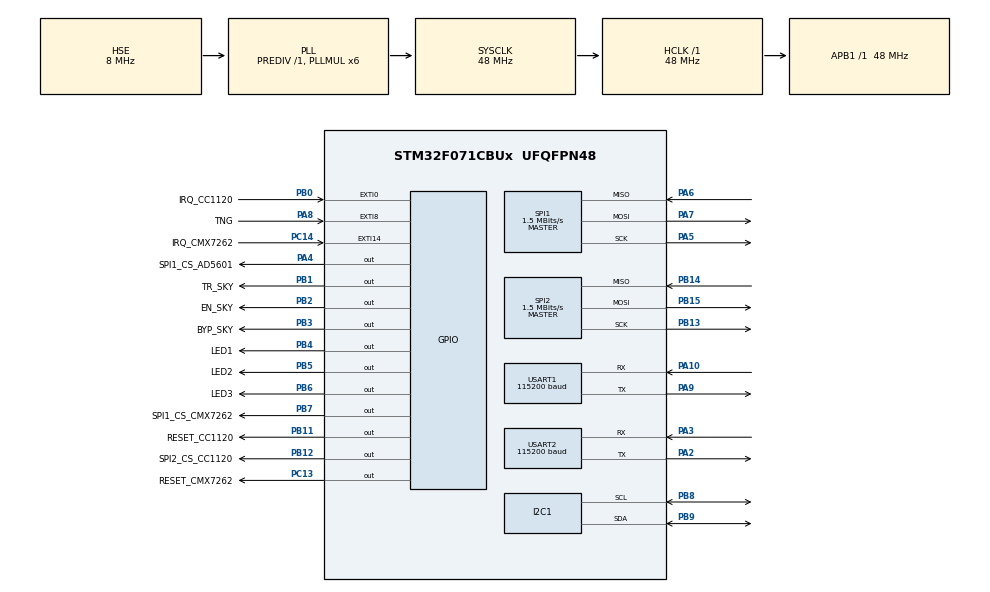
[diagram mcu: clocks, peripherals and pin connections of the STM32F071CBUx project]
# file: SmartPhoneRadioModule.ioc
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Dma.Request0=SPI1_RX
Dma.Request1=SPI1_TX
Dma.Request2=SPI2_RX
Dma.Request3=SPI2_TX
Dma.Request4=USART1_RX
Dma.Request5=USART1_TX
Dma.SPI1_RX.0.Direction=DMA_PERIPH_TO_MEMORY
Dma.SPI1_RX.0.Instance=DMA1_Channel2
Dma.SPI1_RX.0.MemDataAlignment=DMA_MDATAALIGN_BYTE
Dma.SPI1_RX.0.MemInc=DMA_MINC_ENABLE
Dma.SPI1_RX.0.Mode=DMA_NORMAL
Dma.SPI1_RX.0.PeriphDataAlignment=DMA_PDATAALIGN_BYTE
Dma.SPI1_RX.0.PeriphInc=DMA_PINC_DISABLE
Dma.SPI1_RX.0.Priority=DMA_PRIORITY_LOW
Dma.SPI1_TX.1.Direction=DMA_MEMORY_TO_PERIPH
Dma.SPI1_TX.1.Instance=DMA1_Channel3
Dma.SPI1_TX.1.MemDataAlignment=DMA_MDATAALIGN_BYTE
Dma.SPI1_TX.1.MemInc=DMA_MINC_ENABLE
Dma.SPI1_TX.1.Mode=DMA_NORMAL
Dma.SPI1_TX.1.PeriphDataAlignment=DMA_PDATAALIGN_BYTE
Dma.SPI1_TX.1.PeriphInc=DMA_PINC_DISABLE
Dma.SPI1_TX.1.Priority=DMA_PRIORITY_LOW
Dma.SPI2_RX.2.DMA_Remap=HAL_REMAPDMA_SPI2_DMA_CH67
Dma.SPI2_RX.2.Direction=DMA_PERIPH_TO_MEMORY
Dma.SPI2_RX.2.Instance=DMA1_Channel6
Dma.SPI2_RX.2.MemDataAlignment=DMA_MDATAALIGN_BYTE
Dma.SPI2_RX.2.MemInc=DMA_MINC_ENABLE
Dma.SPI2_RX.2.Mode=DMA_NORMAL
Dma.SPI2_RX.2.PeriphDataAlignment=DMA_PDATAALIGN_BYTE
Dma.SPI2_RX.2.PeriphInc=DMA_PINC_DISABLE
Dma.SPI2_RX.2.Priority=DMA_PRIORITY_LOW
Dma.SPI2_TX.3.DMA_Remap=HAL_REMAPDMA_SPI2_DMA_CH67
Dma.SPI2_TX.3.Direction=DMA_MEMORY_TO_PERIPH
Dma.SPI2_TX.3.Instance=DMA1_Channel7
Dma.SPI2_TX.3.MemDataAlignment=DMA_MDATAALIGN_BYTE
Dma.SPI2_TX.3.MemInc=DMA_MINC_ENABLE
Dma.SPI2_TX.3.Mode=DMA_NORMAL
Dma.SPI2_TX.3.PeriphDataAlignment=DMA_PDATAALIGN_BYTE
Dma.SPI2_TX.3.PeriphInc=DMA_PINC_DISABLE
Dma.SPI2_TX.3.Priority=DMA_PRIORITY_LOW
Dma.USART1_RX.4.DMA_Remap=HAL_REMAPDMA_USART1_RX_DMA_CH5
Dma.USART1_RX.4.Direction=DMA_PERIPH_TO_MEMORY
Dma.USART1_RX.4.Instance=DMA1_Channel5
Dma.USART1_RX.4.MemDataAlignment=DMA_MDATAALIGN_BYTE
Dma.USART1_RX.4.MemInc=DMA_MINC_ENABLE
Dma.USART1_RX.4.Mode=DMA_NORMAL
Dma.USART1_RX.4.PeriphDataAlignment=DMA_PDATAALIGN_BYTE
Dma.USART1_RX.4.PeriphInc=DMA_PINC_DISABLE
Dma.USART1_RX.4.Priority=DMA_PRIORITY_LOW
Dma.USART1_TX.5.DMA_Remap=HAL_REMAPDMA_USART1_TX_DMA_CH4
Dma.USART1_TX.5.Direction=DMA_MEMORY_TO_PERIPH
Dma.USART1_TX.5.Instance=DMA1_Channel4
Dma.USART1_TX.5.MemDataAlignment=DMA_MDATAALIGN_BYTE
Dma.USART1_TX.5.MemInc=DMA_MINC_ENABLE
Dma.USART1_TX.5.Mode=DMA_NORMAL
Dma.USART1_TX.5.PeriphDataAlignment=DMA_PDATAALIGN_BYTE
Dma.USART1_TX.5.PeriphInc=DMA_PINC_DISABLE
Dma.USART1_TX.5.Priority=DMA_PRIORITY_LOW
I2C1.Timing=0x20303E5D
Mcu.Family=STM32F0
Mcu.Name=STM32F071CBUx
Mcu.Package=UFQFPN48
NVIC.DMA1_Channel2_3_IRQn=true\:0\:0\:false
NVIC.DMA1_Channel4_5_6_7_IRQn=true\:0\:0\:false
NVIC.EXTI0_1_IRQn=true\:0\:0\:false
NVIC.EXTI4_15_IRQn=true\:0\:0\:false
NVIC.SPI1_IRQn=true\:0\:0\:false
NVIC.SPI2_IRQn=true\:0\:0\:false
NVIC.USART1_IRQn=true\:0\:0\:false
NVIC.USART2_IRQn=true\:0\:0\:false
PA10.Mode=Asynchronous
PA10.Signal=USART1_RX
PA2.Mode=Asynchronous
PA2.Signal=USART2_TX
PA3.Mode=Asynchronous
PA3.Signal=USART2_RX
PA4.GPIO_Label=SPI1_CS_AD5601
PA4.GPIO_PuPd=GPIO_NOPULL
PA4.GPIO_Speed=GPIO_SPEED_HIGH
PA4.Signal=GPIO_Output
PA5.Mode=Full_Duplex_Master
PA5.Signal=SPI1_SCK
PA6.Mode=Full_Duplex_Master
PA6.Signal=SPI1_MISO
PA7.Mode=Full_Duplex_Master
PA7.Signal=SPI1_MOSI
PA8.GPIO_Label=TNG
PA8.GPIO_ModeDefaultEXTI=GPIO_MODE_IT_FALLING
PA8.GPIO_PuPd=GPIO_PULLUP
PA8.Signal=GPXTI8
PA9.Mode=Asynchronous
PA9.Signal=USART1_TX
PB0.GPIO_Label=IRQ_CC1120
PB0.GPIO_ModeDefaultEXTI=GPIO_MODE_IT_FALLING
PB0.GPIO_PuPd=GPIO_PULLUP
PB0.Signal=GPXTI0
PB1.GPIO_Label=TR_SKY
PB1.Signal=GPIO_Output
PB11.GPIO_Label=RESET_CC1120
PB11.GPIO_Speed=GPIO_SPEED_HIGH
PB11.Signal=GPIO_Output
PB12.GPIO_Label=SPI2_CS_CC1120
PB12.GPIO_Speed=GPIO_SPEED_HIGH
PB12.Signal=GPIO_Output
PB13.Mode=Full_Duplex_Master
PB13.Signal=SPI2_SCK
PB14.Mode=Full_Duplex_Master
PB14.Signal=SPI2_MISO
PB15.Mode=Full_Duplex_Master
PB15.Signal=SPI2_MOSI
PB2.GPIO_Label=EN_SKY
PB2.Signal=GPIO_Output
PB3.GPIO_Label=BYP_SKY
PB3.Signal=GPIO_Output
PB4.GPIO_Label=LED1
PB4.GPIO_PuPd=GPIO_NOPULL
PB4.GPIO_Speed=GPIO_SPEED_HIGH
PB4.Signal=GPIO_Output
PB5.GPIO_Label=LED2
PB5.GPIO_PuPd=GPIO_NOPULL
PB5.GPIO_Speed=GPIO_SPEED_HIGH
PB5.Signal=GPIO_Output
PB6.GPIO_FM6=__NULL
PB6.GPIO_Label=LED3
PB6.GPIO_PuPd=GPIO_NOPULL
PB6.GPIO_Speed=GPIO_SPEED_HIGH
PB6.Signal=GPIO_Output
PB7.GPIO_Label=SPI1_CS_CMX7262
PB7.GPIO_PuPd=GPIO_NOPULL
PB7.GPIO_Speed=GPIO_SPEED_HIGH
PB7.Signal=GPIO_Output
PB8.Mode=I2C
PB8.Signal=I2C1_SCL
PB9.Mode=I2C
PB9.Signal=I2C1_SDA
PC13.GPIO_Label=RESET_CMX7262
PC13.Signal=GPIO_Output
PC14-OSC32_IN.GPIO_Label=IRQ_CMX7262
PC14-OSC32_IN.GPIO_ModeDefaultEXTI=GPIO_MODE_IT_FALLING
PC14-OSC32_IN.GPIO_PuPd=GPIO_PULLUP
PC14-OSC32_IN.Signal=GPXTI14
PF0-OSC_IN.Mode=HSE-External-Oscillator
PF0-OSC_IN.Signal=RCC_OSC_IN
PF1-OSC_OUT.Mode=HSE-External-Oscillator
PF1-OSC_OUT.Signal=RCC_OSC_OUT
ProjectManager.TargetToolchain=MDK-ARM V5
RCC.AHBFreq_Value=48000000
RCC.APB1Freq_Value=48000000
RCC.APB1TimFreq_Value=48000000
RCC.HCLKFreq_Value=48000000
RCC.HSIState=RCC_HSI_ON
RCC.I2c1ClockSelection=RCC_I2C1CLKSOURCE_SYSCLK
RCC.PLLMUL=RCC_PLL_MUL6
RCC.PLLSourceVirtual=RCC_PLLSOURCE_HSE
RCC.SYSCLKFreq_VALUE=48000000
RCC.SYSCLKSource=RCC_SYSCLKSOURCE_PLLCLK
SPI1.BaudRatePrescaler=SPI_BAUDRATEPRESCALER_32
SPI1.CalculateBaudRate=1.5 MBits/s
SPI1.DataSize=SPI_DATASIZE_8BIT
SPI1.Mode=SPI_MODE_MASTER
SPI1.NSSPMode=SPI_NSS_PULSE_DISABLED
SPI2.BaudRatePrescaler=SPI_BAUDRATEPRESCALER_32
SPI2.CalculateBaudRate=1.5 MBits/s
SPI2.DataSize=SPI_DATASIZE_8BIT
SPI2.Mode=SPI_MODE_MASTER
SPI2.NSSPMode=SPI_NSS_PULSE_DISABLED
TIM1.Period=65535
TIM15.Period=65535
TIM2.Period=65535
TIM2.TIM_MasterSlaveMode=TIM_MASTERSLAVEMODE_ENABLE
TIM3.Period=65535
USART1.BaudRate=115200
USART1.WordLength=UART_WORDLENGTH_8B
USART2.BaudRate=115200
USART2.WordLength=UART_WORDLENGTH_8B
VP_TIM15_VS_ClockSourceINT.Mode=Internal
VP_TIM1_VS_ClockSourceINT.Mode=Internal
VP_TIM2_VS_ClockSourceINT.Mode=Internal
VP_TIM3_VS_ClockSourceITR.Mode=TriggerSource_ITR1
VP_TIM3_VS_ControllerModeClock.Mode=Clock Mode
board=SmartPhoneRadioModule

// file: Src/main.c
/**
  ******************************************************************************
  * File Name          : main.c
  * Description        : Main program body
  ******************************************************************************
  *
  * COPYRIGHT(c) 2016 STMicroelectronics
  *
  * Redistribution and use in source and binary forms, with or without modification,
  * are permitted provided that the following conditions are met:
  *   1. Redistributions of source code must retain the above copyright notice,
  *      this list of conditions and the following disclaimer.
  *   2. Redistributions in binary form must reproduce the above copyright notice,
  *      this list of conditions and the following disclaimer in the documentation
  *      and/or other materials provided with the distribution.
  *   3. Neither the name of STMicroelectronics nor the names of its contributors
  *      may be used to endorse or promote products derived from this software
  *      without specific prior written permission.
  *
  * THIS SOFTWARE IS PROVIDED BY THE COPYRIGHT HOLDERS AND CONTRIBUTORS "AS IS"
  * AND ANY EXPRESS OR IMPLIED WARRANTIES, INCLUDING, BUT NOT LIMITED TO, THE
  * IMPLIED WARRANTIES OF MERCHANTABILITY AND FITNESS FOR A PARTICULAR PURPOSE ARE
  * DISCLAIMED. IN NO EVENT SHALL THE COPYRIGHT HOLDER OR CONTRIBUTORS BE LIABLE
  * FOR ANY DIRECT, INDIRECT, INCIDENTAL, SPECIAL, EXEMPLARY, OR CONSEQUENTIAL
  * DAMAGES (INCLUDING, BUT NOT LIMITED TO, PROCUREMENT OF SUBSTITUTE GOODS OR
  * SERVICES; LOSS OF USE, DATA, OR PROFITS; OR BUSINESS INTERRUPTION) HOWEVER
  * CAUSED AND ON ANY THEORY OF LIABILITY, WHETHER IN CONTRACT, STRICT LIABILITY,
  * OR TORT (INCLUDING NEGLIGENCE OR OTHERWISE) ARISING IN ANY WAY OUT OF THE USE
  * OF THIS SOFTWARE, EVEN IF ADVISED OF THE POSSIBILITY OF SUCH DAMAGE.
  *
  ******************************************************************************
  */
#include "stm32f0xx_hal.h"

/* USER CODE BEGIN Includes */
#include <string.h>
#include "ad5601.h"
#include "globals.h"
#include "cc1120.h"
#include "cmx7262.h"
#include "eeprom.h"
#include "mathfuncs.h"
#include "ProcessStates.h"
#include "RadioModule.h"
#include "SPIMLogic.h"
#include "StoreCMXImage.h"
/* USER CODE END Includes */

I2C_HandleTypeDef hi2c1;

SPI_HandleTypeDef hspi1;
SPI_HandleTypeDef hspi2;
DMA_HandleTypeDef hdma_spi1_rx;
DMA_HandleTypeDef hdma_spi1_tx;
DMA_HandleTypeDef hdma_spi2_rx;
DMA_HandleTypeDef hdma_spi2_tx;

TIM_HandleTypeDef htim1;
TIM_HandleTypeDef htim2;
TIM_HandleTypeDef htim3;
TIM_HandleTypeDef htim15;

UART_HandleTypeDef huart1;
UART_HandleTypeDef huart2;
DMA_HandleTypeDef hdma_usart1_rx;
DMA_HandleTypeDef hdma_usart1_tx;

/* USER CODE BEGIN PV */
/* Private variables ---------------------------------------------------------*/
extern UART_InitTypeDef DefaultUARTParams;

extern en_UARTstates UARTstate;

#define DMA_UART_PRIORITY (2)

/* USER CODE END PV */

void SystemClock_Config(void);
static void MX_GPIO_Init(void);
static void MX_DMA_Init(void);
static void MX_I2C1_Init(void);
static void MX_SPI1_Init(void);
static void MX_SPI2_Init(void);
static void MX_TIM1_Init(void);
static void MX_TIM2_Init(void);
static void MX_TIM3_Init(void);
static void MX_TIM15_Init(void);
static void MX_USART1_UART_Init(void);
static void MX_USART2_UART_Init(void);

/* USER CODE BEGIN PFP */
/* Private function prototypes -----------------------------------------------*/

/* USER CODE END PFP */

int main(void)
{

  /* MCU Configuration----------------------------------------------------------*/

  /* Reset of all peripherals, Initializes the Flash interface and the Systick. */
	HAL_Init();

  /* Configure the system clock */
  SystemClock_Config();

  /* Initialize all configured peripherals */
  MX_GPIO_Init();
  MX_DMA_Init();
  MX_I2C1_Init();
  MX_SPI1_Init();
  MX_SPI2_Init();
  MX_TIM1_Init();
  MX_TIM2_Init();
  MX_TIM3_Init();
  MX_TIM15_Init();
  MX_USART1_UART_Init();
  MX_USART2_UART_Init();

  /* USER CODE BEGIN 2 */

	// Устанавливаем CS периферийных микросхем в высокое состояние
	CC1120_CSN_HIGH();
	CMX7262_CSN_HIGH();
	#ifndef SMART_PROTOTYPE
	AD5601_CSN_HIGH();
	#endif

	// Pin Reset CC1120 устанавливаем в высокое состояние для перевода микросхемы в активное состояние
	CC1120_RESET_HIGH();

	//Выключаем светодиоды
	LEDS_OFF();

	#ifndef SMART_PROTOTYPE
	SKY_TR_LOW();
	SKY_EN_HIGH();
	SKY_BYP_HIGH();
	#endif

	//Запускаем таймеры для работы с периферией
	StartPeriphTimers();

	// Инициализируем работу по UART
	UART_InitInterface(&huart1);

	//Аппаратный сброс CC1120
	CC1120_HardwareReset();

	//Аппаратный сброс CMX7262
	CMX7262_HardwareReset();

	#ifdef DEBUG_CHECK_EEPROM_ON_STARTUP
	//Проверка работоспособности (чтение/запись) EEPROM
	volatile uint8_t nEEPROMStatus = TestEEPROM(&hi2c1);
	#endif

	#ifdef DEBUG_CHECK_PERIPH_MODULES_ON_STARTUP
	//Проверка работоспособности периферийных модулей
	volatile uint8_t nCC1120Status = CC1120_CheckModule(&hspi2);
	volatile uint8_t nCMX7262Status = CMX7262_CheckModule(&hspi1);
	#endif

	#ifdef SAVE_CMX7262_IMAGE_TO_EEPROM
	SaveCMX7262Image();
	return 0;
	#endif

	//Делаем инициализацию радиомодуля для возможности управления его режимами и параметрами
	RadioModuleInit(&hspi1,&hspi2);

	#ifndef SMART_PROTOTYPE
	//Выставляем смещение на ЦАП для Front-End
	AD5601_SetVCPForSky(&hspi1);
	#endif

	#ifdef TEST_CMX7262
	CMX7262_TestMode();
	#endif

  /* USER CODE END 2 */

  /* Infinite loop */
  /* USER CODE BEGIN WHILE */
	#ifdef USE_LEDS
	//Индицируем успешную загрузку светодиодом
	LED1_ON();
	#endif

  while (1)
  {
		//Если из UART приняты данные
		if(UARTstate==UART_DATA_RX_NEED_TO_PROCESS)
		{
			//Обрабатываем их
			ProcessDataFromExtDev();

			//Указываем, что данные обработаны
			UARTstate = UART_IDLE;
		}

		ProcessAsyncData();

		//Обрабатываем состояние модуля CMX7262
		ProcessCMX7262State();

		#ifndef TEST_CMX7262
		//Обрабатываем тангенту
		ProcessPTTState();

		//Обрабатываем состояние приемопередатчика
		ProcessRadioState();
		#endif

  /* USER CODE END WHILE */

  }

}

/** System Clock Configuration
*/
void SystemClock_Config(void)
{

  RCC_OscInitTypeDef RCC_OscInitStruct;
  RCC_ClkInitTypeDef RCC_ClkInitStruct;
  RCC_PeriphCLKInitTypeDef PeriphClkInit;

  RCC_OscInitStruct.OscillatorType = RCC_OSCILLATORTYPE_HSE;
  RCC_OscInitStruct.HSEState = RCC_HSE_ON;
  RCC_OscInitStruct.PLL.PLLState = RCC_PLL_ON;
  RCC_OscInitStruct.PLL.PLLSource = RCC_PLLSOURCE_HSE;
  RCC_OscInitStruct.PLL.PLLMUL = RCC_PLL_MUL6;
  RCC_OscInitStruct.PLL.PREDIV = RCC_PREDIV_DIV1;
  HAL_RCC_OscConfig(&RCC_OscInitStruct);

  RCC_ClkInitStruct.ClockType = RCC_CLOCKTYPE_SYSCLK;
  RCC_ClkInitStruct.SYSCLKSource = RCC_SYSCLKSOURCE_PLLCLK;
  RCC_ClkInitStruct.AHBCLKDivider = RCC_SYSCLK_DIV1;
  RCC_ClkInitStruct.APB1CLKDivider = RCC_HCLK_DIV1;
  HAL_RCC_ClockConfig(&RCC_ClkInitStruct, FLASH_LATENCY_1);

  PeriphClkInit.PeriphClockSelection = RCC_PERIPHCLK_USART1|RCC_PERIPHCLK_USART2
                              |RCC_PERIPHCLK_I2C1;
  PeriphClkInit.Usart1ClockSelection = RCC_USART1CLKSOURCE_PCLK1;
  PeriphClkInit.Usart2ClockSelection = RCC_USART2CLKSOURCE_PCLK1;
  PeriphClkInit.I2c1ClockSelection = RCC_I2C1CLKSOURCE_SYSCLK;
  HAL_RCCEx_PeriphCLKConfig(&PeriphClkInit);

  HAL_SYSTICK_Config(HAL_RCC_GetHCLKFreq()/1000);

  HAL_SYSTICK_CLKSourceConfig(SYSTICK_CLKSOURCE_HCLK);

  /* SysTick_IRQn interrupt configuration */
  HAL_NVIC_SetPriority(SysTick_IRQn, 0, 0);
}

/* I2C1 init function */
void MX_I2C1_Init(void)
{

  hi2c1.Instance = I2C1;
  hi2c1.Init.Timing = 0x20303E5D;
  hi2c1.Init.OwnAddress1 = 1;
  hi2c1.Init.AddressingMode = I2C_ADDRESSINGMODE_7BIT;
  hi2c1.Init.DualAddressMode = I2C_DUALADDRESS_DISABLED;
  hi2c1.Init.OwnAddress2 = 0;
  hi2c1.Init.OwnAddress2Masks = I2C_OA2_NOMASK;
  hi2c1.Init.GeneralCallMode = I2C_GENERALCALL_DISABLED;
  hi2c1.Init.NoStretchMode = I2C_NOSTRETCH_DISABLED;
  HAL_I2C_Init(&hi2c1);

    /**Configure Analogue filter
    */
  HAL_I2CEx_AnalogFilter_Config(&hi2c1, I2C_ANALOGFILTER_ENABLED);

}

/* SPI1 init function */
void MX_SPI1_Init(void)
{

  hspi1.Instance = SPI1;
  hspi1.Init.Mode = SPI_MODE_MASTER;
  hspi1.Init.Direction = SPI_DIRECTION_2LINES;							// режим работы: двухпроводный full duplex
  hspi1.Init.DataSize = SPI_DATASIZE_8BIT;									// размер данных - 8 бит
  hspi1.Init.CLKPolarity = SPI_POLARITY_LOW;
  hspi1.Init.CLKPhase = SPI_PHASE_1EDGE;										// синхронизация по заднему фронту
  hspi1.Init.NSS = SPI_NSS_SOFT;														// программный CS
  hspi1.Init.BaudRatePrescaler = SPI_BAUDRATEPRESCALER_32;	// предделитель частоты SPI: 48МГц/32 = 1.5 МГц
  hspi1.Init.FirstBit = SPI_FIRSTBIT_MSB;										// старший бит - первый
  hspi1.Init.TIMode = SPI_TIMODE_DISABLED;
  hspi1.Init.CRCCalculation = SPI_CRCCALCULATION_DISABLED;	// CRC не вычисляется
  hspi1.Init.CRCPolynomial = 7;
  hspi1.Init.CRCLength = SPI_CRC_LENGTH_DATASIZE;
  hspi1.Init.NSSPMode = SPI_NSS_PULSE_DISABLED;							// NSS pulse mode отключен
  HAL_SPI_Init(&hspi1);

}

/* SPI2 init function */
void MX_SPI2_Init(void)
{

  hspi2.Instance = SPI2;
  hspi2.Init.Mode = SPI_MODE_MASTER;
  hspi2.Init.Direction = SPI_DIRECTION_2LINES;							// режим работы: двухпроводный full duplex
  hspi2.Init.DataSize = SPI_DATASIZE_8BIT;									// размер данных - 8 бит
  hspi2.Init.CLKPolarity = SPI_POLARITY_LOW;
  hspi2.Init.CLKPhase = SPI_PHASE_1EDGE;										// синхронизация по заднему фронту
  hspi2.Init.NSS = SPI_NSS_SOFT;														// программный CS
  hspi2.Init.BaudRatePrescaler = SPI_BAUDRATEPRESCALER_128;	// предделитель частоты SPI: 48МГц/128 = 375 кГц
  hspi2.Init.FirstBit = SPI_FIRSTBIT_MSB;										// старший бит - первый
  hspi2.Init.TIMode = SPI_TIMODE_DISABLED;
  hspi2.Init.CRCCalculation = SPI_CRCCALCULATION_DISABLED;	// CRC не вычисляется
  hspi2.Init.CRCPolynomial = 7;
  hspi2.Init.CRCLength = SPI_CRC_LENGTH_DATASIZE;
  hspi2.Init.NSSPMode = SPI_NSS_PULSE_DISABLED;							// NSS pulse mode отключен
  HAL_SPI_Init(&hspi2);

}

/* TIM1 init function */
void MX_TIM1_Init(void)
{

  TIM_ClockConfigTypeDef sClockSourceConfig;
  TIM_MasterConfigTypeDef sMasterConfig;

  htim1.Instance = TIM1;
	htim1.Init.Prescaler = (uint16_t) ((SystemCoreClock)/1e5 - 1);	//такт таймера - в 10 мкс
  htim1.Init.CounterMode = TIM_COUNTERMODE_UP;
  htim1.Init.Period = 65535;
  htim1.Init.ClockDivision = TIM_CLOCKDIVISION_DIV1;
  htim1.Init.RepetitionCounter = 0;
  HAL_TIM_Base_Init(&htim1);

  sClockSourceConfig.ClockSource = TIM_CLOCKSOURCE_INTERNAL;
  HAL_TIM_ConfigClockSource(&htim1, &sClockSourceConfig);

  sMasterConfig.MasterOutputTrigger = TIM_TRGO_RESET;
  sMasterConfig.MasterSlaveMode = TIM_MASTERSLAVEMODE_DISABLE;
  HAL_TIMEx_MasterConfigSynchronization(&htim1, &sMasterConfig);

}

/* Таймеры TIM2 и TIM3 реализуют высокоточный (точность - 1мкс) 32-битный таймер для оценки временных
интервалов в реализации низкоуровневых функций (передача байта по SPI, UART и т.п.) */

/* TIM2 init function */
void MX_TIM2_Init(void)
{

  TIM_ClockConfigTypeDef sClockSourceConfig;
  TIM_MasterConfigTypeDef sMasterConfig;

  htim2.Instance = TIM2;
  htim2.Init.Prescaler = (uint16_t) ((SystemCoreClock) / 1e6) - 1;		//такт таймера - в 1 мкс
  htim2.Init.CounterMode = TIM_COUNTERMODE_UP;
  htim2.Init.Period = 65535;
  htim2.Init.ClockDivision = TIM_CLOCKDIVISION_DIV1;
  HAL_TIM_Base_Init(&htim2);

  sClockSourceConfig.ClockSource = TIM_CLOCKSOURCE_INTERNAL;
  HAL_TIM_ConfigClockSource(&htim2, &sClockSourceConfig);

	//Таймер используется как master в каскадной цепочке таймеров для реализации 32-битного таймера
	//Слейвом выступает TIM3. Формируем для него сигнал тригера по истечению периода
  sMasterConfig.MasterOutputTrigger = TIM_TRGO_UPDATE;
  sMasterConfig.MasterSlaveMode = TIM_MASTERSLAVEMODE_ENABLE;
  HAL_TIMEx_MasterConfigSynchronization(&htim2, &sMasterConfig);

}

/* TIM3 init function */
void MX_TIM3_Init(void)
{

  TIM_SlaveConfigTypeDef sSlaveConfig;
  TIM_MasterConfigTypeDef sMasterConfig;

  htim3.Instance = TIM3;
  htim3.Init.Prescaler = 0;
  htim3.Init.CounterMode = TIM_COUNTERMODE_UP;
  htim3.Init.Period = 65535;
  htim3.Init.ClockDivision = TIM_CLOCKDIVISION_DIV1;
  HAL_TIM_Base_Init(&htim3);

	//Таймер используется как slave в каскадной цепочке таймеров для реализации 32-битного таймера
	//По переполнению счетчика master-таймера (TIM2) инкрементируется счетчик данного slave-таймера
	//Прерывание ITR1 используется как внешний тригер для инкрементирования значения счетчика
  sSlaveConfig.SlaveMode = TIM_SLAVEMODE_EXTERNAL1;
  sSlaveConfig.InputTrigger = TIM_TS_ITR1;
  HAL_TIM_SlaveConfigSynchronization(&htim3, &sSlaveConfig);

  sMasterConfig.MasterOutputTrigger = TIM_TRGO_RESET;
  sMasterConfig.MasterSlaveMode = TIM_MASTERSLAVEMODE_DISABLE;
  HAL_TIMEx_MasterConfigSynchronization(&htim3, &sMasterConfig);

}

/* TIM15 init function */
void MX_TIM15_Init(void)
{

  TIM_ClockConfigTypeDef sClockSourceConfig;
  TIM_MasterConfigTypeDef sMasterConfig;

  htim15.Instance = TIM15;
	htim15.Init.Prescaler = (uint16_t) ((SystemCoreClock)/1e5 - 1);	//такт таймера - в 10 мкс
  htim15.Init.CounterMode = TIM_COUNTERMODE_UP;
  htim15.Init.Period = 65535;
  htim15.Init.ClockDivision = TIM_CLOCKDIVISION_DIV1;
  htim15.Init.RepetitionCounter = 0;
  HAL_TIM_Base_Init(&htim15);

  sClockSourceConfig.ClockSource = TIM_CLOCKSOURCE_INTERNAL;
  HAL_TIM_ConfigClockSource(&htim15, &sClockSourceConfig);

  sMasterConfig.MasterOutputTrigger = TIM_TRGO_RESET;
  sMasterConfig.MasterSlaveMode = TIM_MASTERSLAVEMODE_DISABLE;
  HAL_TIMEx_MasterConfigSynchronization(&htim15, &sMasterConfig);

}

/* USART1 init function */
void MX_USART1_UART_Init(void)
{

  huart1.Instance = USART1;
  huart1.Init = DefaultUARTParams;
  HAL_UART_Init(&huart1);

}

/* USART2 init function */
void MX_USART2_UART_Init(void)
{

  huart2.Instance = USART2;
  huart2.Init.BaudRate = 115200;
  huart2.Init.WordLength = UART_WORDLENGTH_8B;
  huart2.Init.StopBits = UART_STOPBITS_1;
  huart2.Init.Parity = UART_PARITY_NONE;
  huart2.Init.Mode = UART_MODE_TX_RX;
  huart2.Init.HwFlowCtl = UART_HWCONTROL_NONE;
  huart2.Init.OverSampling = UART_OVERSAMPLING_16;
  huart2.Init.OneBitSampling = UART_ONEBIT_SAMPLING_DISABLED ;
  huart2.AdvancedInit.AdvFeatureInit = UART_ADVFEATURE_NO_INIT;
  HAL_UART_Init(&huart2);

}

void MX_DMA_Init(void)
{
  /* DMA controller clock enable */
  __DMA1_CLK_ENABLE();

  /* DMA interrupt init */
  HAL_NVIC_SetPriority(DMA1_Channel2_3_IRQn, 0, 0);
  HAL_NVIC_EnableIRQ(DMA1_Channel2_3_IRQn);
  HAL_NVIC_SetPriority(DMA1_Channel4_5_6_7_IRQn, DMA_UART_PRIORITY, 0);
  HAL_NVIC_EnableIRQ(DMA1_Channel4_5_6_7_IRQn);

}

/** Configure pins as
        * Analog
        * Input
        * Output
        * EVENT_OUT
        * EXTI
*/
void MX_GPIO_Init(void)
{

  GPIO_InitTypeDef GPIO_InitStruct;

  /* GPIO Ports Clock Enable */
  __GPIOC_CLK_ENABLE();
  __GPIOF_CLK_ENABLE();
  __GPIOA_CLK_ENABLE();
  __GPIOB_CLK_ENABLE();

  /*Configure GPIO pin : RESET_CMX7262_Pin */
  GPIO_InitStruct.Pin = RESET_CMX7262_Pin;
  GPIO_InitStruct.Mode = GPIO_MODE_OUTPUT_PP;
  GPIO_InitStruct.Pull = GPIO_NOPULL;
  GPIO_InitStruct.Speed = GPIO_SPEED_LOW;
  HAL_GPIO_Init(RESET_CMX7262_GPIO_Port, &GPIO_InitStruct);

  /*Configure GPIO pin : IRQ_CMX7262_Pin */
  GPIO_InitStruct.Pin = IRQ_CMX7262_Pin;
  GPIO_InitStruct.Mode = GPIO_MODE_IT_FALLING;
  GPIO_InitStruct.Pull = GPIO_PULLUP;
  HAL_GPIO_Init(IRQ_CMX7262_GPIO_Port, &GPIO_InitStruct);

  /*Configure GPIO pin : SPI1_CS_AD5601_Pin */
  GPIO_InitStruct.Pin = SPI1_CS_AD5601_Pin;
  GPIO_InitStruct.Mode = GPIO_MODE_OUTPUT_PP;
  GPIO_InitStruct.Pull = GPIO_PULLUP;
  GPIO_InitStruct.Speed = GPIO_SPEED_HIGH;
  HAL_GPIO_Init(SPI1_CS_AD5601_GPIO_Port, &GPIO_InitStruct);

  /*Configure GPIO pin : IRQ_CC1120_Pin */
  GPIO_InitStruct.Pin = IRQ_CC1120_Pin;
  GPIO_InitStruct.Mode = GPIO_MODE_IT_FALLING;
  GPIO_InitStruct.Pull = GPIO_PULLUP;
  HAL_GPIO_Init(IRQ_CC1120_GPIO_Port, &GPIO_InitStruct);

  /*Configure GPIO pins : TR_SKY_Pin EN_SKY_Pin BYP_SKY_Pin */
  GPIO_InitStruct.Pin = TR_SKY_Pin|EN_SKY_Pin|BYP_SKY_Pin;
  GPIO_InitStruct.Mode = GPIO_MODE_OUTPUT_PP;
  GPIO_InitStruct.Pull = GPIO_NOPULL;
  GPIO_InitStruct.Speed = GPIO_SPEED_LOW;
  HAL_GPIO_Init(GPIOB, &GPIO_InitStruct);

  /*Configure GPIO pins : RESET_CC1120_Pin SPI2_CS_CC1120_Pin LED1_Pin LED2_Pin
                           LED3_Pin SPI1_CS_CMX7262_Pin */
  GPIO_InitStruct.Pin = RESET_CC1120_Pin|SPI2_CS_CC1120_Pin|LED1_Pin|LED2_Pin
                          |LED3_Pin|SPI1_CS_CMX7262_Pin;
  GPIO_InitStruct.Mode = GPIO_MODE_OUTPUT_PP;
  GPIO_InitStruct.Pull = GPIO_PULLUP;
  GPIO_InitStruct.Speed = GPIO_SPEED_HIGH;
  HAL_GPIO_Init(GPIOB, &GPIO_InitStruct);

  /*Configure GPIO pin : TNG_Pin */
  GPIO_InitStruct.Pin = TNG_Pin;
  GPIO_InitStruct.Mode = GPIO_MODE_INPUT;
  GPIO_InitStruct.Pull = GPIO_PULLUP;
  HAL_GPIO_Init(TNG_GPIO_Port, &GPIO_InitStruct);

  /* EXTI interrupt init*/
  HAL_NVIC_SetPriority(EXTI0_1_IRQn, 0, 0);
  HAL_NVIC_EnableIRQ(EXTI0_1_IRQn);

  HAL_NVIC_SetPriority(EXTI4_15_IRQn, 0, 0);
  HAL_NVIC_EnableIRQ(EXTI4_15_IRQn);

}

/************************ (C) COPYRIGHT STMicroelectronics *****END OF FILE****/
